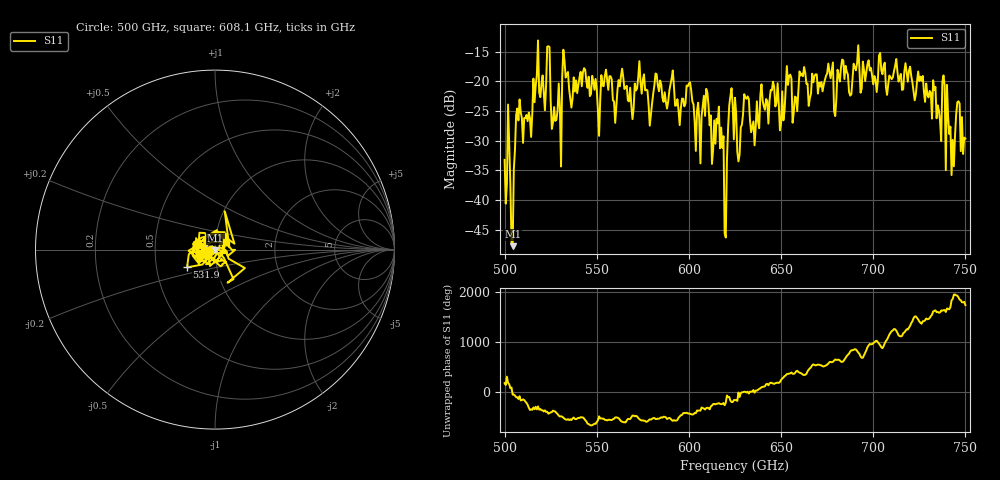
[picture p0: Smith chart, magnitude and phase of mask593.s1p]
!Created with skrf (http://scikit-rf.org).
# GHz S MA R 50.0
!freq magS11 angS11
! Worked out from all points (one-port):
!   401 points, 500 GHz to 750 GHz, reference 50 ohm
!   lowest |S11| = -47.7 dB at 504.4 GHz (marker M1), VSWR 1.01, Z = 50.3 - j0.314 ohm
!   |S11| at or under -10 dB: start of sweep to end of sweep
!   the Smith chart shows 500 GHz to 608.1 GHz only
!   S11 on the Smith chart (normalised r, x): 500 GHz: 0.96, +0.00; 531.9 GHz: 0.72, -0.15; 608.1 GHz: 1.13, +0.09
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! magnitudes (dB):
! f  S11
! 500 GHz  -33.2
! 504.4 GHz  -47.7
! 507.5 GHz  -26.6
! 513.8 GHz  -26.1
! 516.9 GHz  -20.7
! 523.8 GHz  -14.1
! 526.9 GHz  -24.3
! 531.2 GHz  -19.2
! 531.9 GHz  -14.7
! 562.5 GHz  -20.8
! 579.4 GHz  -25.5
! 590.6 GHz  -19.5
! 593.8 GHz  -23.0
! 600 GHz  -20.4
! 605 GHz  -23.6
! 608.1 GHz  -22.4
! 617.5 GHz  -27.8
! 619.4 GHz  -45.5
! 622.5 GHz  -22.5
! 625 GHz  -22.8
! 627.5 GHz  -32.3
! 631.2 GHz  -22.9
! 635 GHz  -26.7
! 645 GHz  -21.5
! 656.2 GHz  -27.0
! 687.5 GHz  -22.4
! 718.8 GHz  -20.1
! 750 GHz  -29.6
